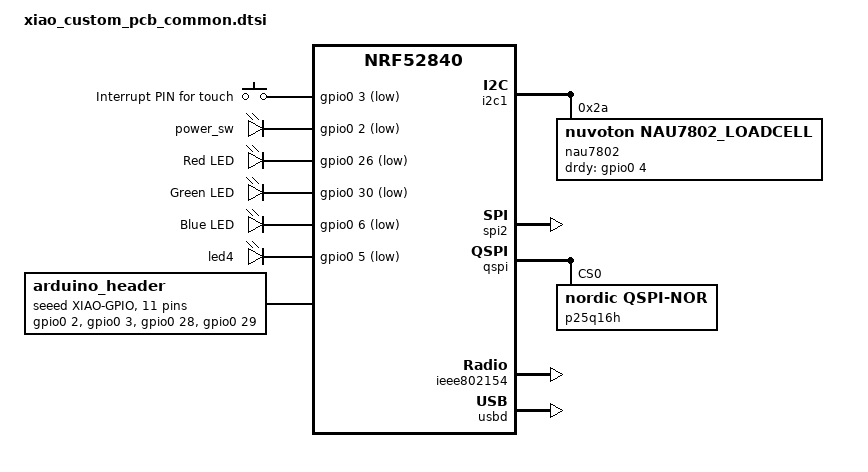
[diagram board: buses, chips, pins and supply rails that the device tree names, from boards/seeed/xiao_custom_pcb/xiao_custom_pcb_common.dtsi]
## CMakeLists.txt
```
# SPDX-License-Identifier: Apache-2.0

cmake_minimum_required(VERSION 3.20.0)

set(BOARD nrf52840dk_nrf52840)
set(SHIELD adafruit_2_8_tft_touch_v2)

find_package(Zephyr REQUIRED HINTS $ENV{ZEPHYR_BASE})
project(rocket)

FILE(GLOB_RECURSE app_sources src/*.c)
target_sources(app PRIVATE ${app_sources})
target_include_directories(app PRIVATE src src/lvgl src/lvgl/screens src/lvgl/widgets)
```

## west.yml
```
# Copyright (c) 2021 Nordic Semiconductor ASA
# SPDX-License-Identifier: Apache-2.0

manifest:
  self:
    west-commands: scripts/west-commands.yml

  remotes:
    - name: ncs
      url-base: https://github.com/nrfconnect

  projects:
    - name: nrf
      remote: ncs
      repo-path: sdk-nrf
      revision: v2.9.0
      import: true
    - name: NAU7802_LOADCELL
      path: modules/nau7802_loadcell
      revision: main
      url: https://github.com/TinNotTim/nau7802_loadcell_zephyr_driver
```

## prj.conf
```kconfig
CONFIG_NEWLIB_LIBC=y

CONFIG_GPIO=y
CONFIG_LOG=y
CONFIG_LOG_MODE_DEFERRED=y
CONFIG_LOG_RUNTIME_FILTERING=y
CONFIG_LOG_BUFFER_SIZE=2048
CONFIG_LOG_PRINTK=y
CONFIG_LOG_PROCESS_TRIGGER_THRESHOLD=0
CONFIG_COVERAGE=n
CONFIG_LOG_TAG_MAX_LEN=8
CONFIG_LV_Z_MEM_POOL_SIZE=16384
CONFIG_LV_Z_SHELL=n
CONFIG_MAIN_STACK_SIZE=4096
CONFIG_FPU=y
CONFIG_SENSOR=y
CONFIG_I2C=y

# TFT/Touch display
CONFIG_DISPLAY=y
CONFIG_DISPLAY_LOG_LEVEL_ERR=y
CONFIG_LVGL=y
CONFIG_LV_MEM_CUSTOM=y
CONFIG_LV_USE_LOG=y
CONFIG_LV_USE_LABEL=y
CONFIG_LV_USE_BTN=y
CONFIG_LV_USE_ARC=y
CONFIG_LV_USE_IMG=y
CONFIG_LV_USE_MONKEY=y
CONFIG_LV_FONT_MONTSERRAT_22=y
CONFIG_LV_FONT_MONTSERRAT_18=y

# Loadcell ADC
CONFIG_NAU7802_LOADCELL=y
CONFIG_NAU7802_LOADCELL_TRIGGER_NONE=y
CONFIG_NAU7802_LOADCELL_TRIGGER_OWN_THREAD=y
CONFIG_NAU7802_LOADCELL_TRIGGER_GLOBAL_THREAD=y
CONFIG_NAU7802_LOADCELL_TRIGGER_DIRECT=y

CONFIG_TEST_RANDOM_GENERATOR=y
```

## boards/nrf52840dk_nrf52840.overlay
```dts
/ {
    interrupt-pins {
        compatible = "gpio-keys";
        touch_irq: touch_irq {
            gpios = <&gpio1 8 (GPIO_PULL_DOWN | GPIO_ACTIVE_LOW)>;
            label = "Interrupt PIN for touch";
            zephyr,code = <INPUT_KEY_0>;
        };
    };

    leds {
        compatible = "gpio-leds";
        led4: led4 {
            gpios = <&gpio1 7 GPIO_ACTIVE_LOW>;
        };
    };

    control-pins {
        compatible = "gpio-leds";
        power_sw: tck108af {
            gpios = <&gpio0 2 GPIO_ACTIVE_LOW>;
        };
    };
};

&i2c0 {
    status = "okay";
    nau7802: nau7802_loadcell@2a {
        compatible = "nuvoton,nau7802_loadcell";
        reg = <0x2A>;
        drdy-gpios = <&gpio0 1 GPIO_ACTIVE_HIGH>;
        conversions-per-second = <40>;
        gain = <16>;
    };
};

&spi1 {
    status = "disabled";
};

&arduino_i2c {
        ft5336_adafruit_2_8_tft_touch_v2: ft5336@38 {
        compatible = "focaltech,ft5336";
        reg = <0x38>;
        int-gpios = <&arduino_header 13 GPIO_ACTIVE_LOW>;
    };
};
```

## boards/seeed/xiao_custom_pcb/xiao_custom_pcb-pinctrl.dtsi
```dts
/*
 * Copyright (c) 2022 Marcin Niestroj
 * SPDX-License-Identifier: Apache-2.0
 */

&pinctrl {
	i2c1_default: i2c1_default {
		group1 {
			psels = <NRF_PSEL(TWIM_SDA, 0, 28)>,
				<NRF_PSEL(TWIM_SCL, 0, 29)>;
		};
	};

	i2c1_sleep: i2c1_sleep {
		group1 {
			psels = <NRF_PSEL(TWIM_SDA, 0, 28)>,
				<NRF_PSEL(TWIM_SCL, 0, 29)>;
			low-power-enable;
		};
	};

	spi2_default: spi2_default {
		group1 {
			psels = <NRF_PSEL(SPIM_SCK, 1, 15)>,
				<NRF_PSEL(SPIM_MOSI, 1, 13)>,
				<NRF_PSEL(SPIM_MISO, 1, 14)>;
		};
	};

	spi2_sleep: spi2_sleep {
		group1 {
			psels = <NRF_PSEL(SPIM_SCK, 1, 15)>,
				<NRF_PSEL(SPIM_MOSI, 1, 13)>,
				<NRF_PSEL(SPIM_MISO, 1, 14)>;
			low-power-enable;
		};
	};

	qspi_default: qspi_default {
		group1 {
			psels = <NRF_PSEL(QSPI_SCK, 0, 21)>,
				<NRF_PSEL(QSPI_IO0, 0, 20)>,
				<NRF_PSEL(QSPI_IO1, 0, 24)>,
				<NRF_PSEL(QSPI_IO2, 0, 22)>,
				<NRF_PSEL(QSPI_IO3, 0, 23)>,
				<NRF_PSEL(QSPI_CSN, 0, 25)>;
		};
	};

	qspi_sleep: qspi_sleep {
		group1 {
			psels = <NRF_PSEL(QSPI_SCK, 0, 21)>,
				<NRF_PSEL(QSPI_IO0, 0, 20)>,
				<NRF_PSEL(QSPI_IO1, 0, 24)>,
				<NRF_PSEL(QSPI_IO2, 0, 22)>,
				<NRF_PSEL(QSPI_IO3, 0, 23)>,
				<NRF_PSEL(QSPI_CSN, 0, 25)>;
			low-power-enable;
		};
	};
};
```

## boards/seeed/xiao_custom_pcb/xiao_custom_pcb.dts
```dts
/*
 * Copyright (c) 2022-2023 Marcin Niestroj
 *
 * SPDX-License-Identifier: Apache-2.0
 */

/dts-v1/;
#include "xiao_custom_pcb_common.dtsi"

/ {
	model = "Seeed XIAO Custom PCB";
	compatible = "seeed,xiao-ble";
};
```

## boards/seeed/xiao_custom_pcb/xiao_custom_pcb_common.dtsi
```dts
/*
 * Copyright (c) 2022 Marcin Niestroj
 * Copyright (c) 2022 Peter Johanson
 *
 * SPDX-License-Identifier: Apache-2.0
 */

#include <nordic/nrf52840_qiaa.dtsi>
#include "xiao_custom_pcb-pinctrl.dtsi"

/ {
	chosen {
		zephyr,console = &usb_cdc_acm_uart;
		zephyr,shell-uart = &usb_cdc_acm_uart;
		zephyr,uart-mcumgr = &usb_cdc_acm_uart;
		zephyr,bt-mon-uart = &usb_cdc_acm_uart;
		zephyr,bt-c2h-uart = &usb_cdc_acm_uart;
		zephyr,sram = &sram0;
		zephyr,flash = &flash0;
		zephyr,code-partition = &code_partition;
		zephyr,ieee802154 = &ieee802154;
	};
	
    interrupt-pins {
        compatible = "gpio-keys";
        touch_irq: touch_irq {
            gpios = <&gpio0 3 (GPIO_PULL_DOWN | GPIO_ACTIVE_LOW)>;
            label = "Interrupt PIN for touch";
            zephyr,code = <INPUT_KEY_0>;
        };
    };

    control-pins {
        compatible = "gpio-leds";
        power_sw: tck108af {
            gpios = <&gpio0 2 GPIO_ACTIVE_LOW>;
        };
    };

	leds {
		compatible = "gpio-leds";
		led0: led_0 {
			gpios = <&gpio0 26 GPIO_ACTIVE_LOW>;
			label = "Red LED";
		};
		led1: led_1 {
			gpios = <&gpio0 30 GPIO_ACTIVE_LOW>;
			label = "Green LED";
		};
		led2: led_2 {
			gpios = <&gpio0 6 GPIO_ACTIVE_LOW>;
			label = "Blue LED";
		};
        led4: led4 {
            gpios = <&gpio0 5 GPIO_ACTIVE_LOW>;
        };
	};

	arduino_header: connector {
		compatible = "seeed,xiao-gpio";
		#gpio-cells = <2>;
		gpio-map-mask = <0xffffffff 0xffffffc0>;
		gpio-map-pass-thru = <0 0x3f>;
		gpio-map =
			<0 0 &gpio0 2 0>, /* D0 */
			<1 0 &gpio0 3 0>, /* D1 */
			<2 0 &gpio0 28 0>, /* D2 */
			<3 0 &gpio0 29 0>, /* D3 */
			<4 0 &gpio0 4 0>, /* D4 */
			<5 0 &gpio0 5 0>, /* D5 */
			<6 0 &gpio1 11 0>, /* D6 */
			<7 0 &gpio1 12 0>, /* D7 */
			<8 0 &gpio1 13 0>, /* D8 */
			<9 0 &gpio1 14 0>, /* D9 */
			<10 0 &gpio1 15 0>; /* D10 */
	};

	/* These aliases are provided for compatibility with samples */
	aliases {
		led0 = &led0;
		led1 = &led1;
		led2 = &led2;
		bootloader-led0 = &led0;
		mcuboot-led0 = &led0;
		watchdog0 = &wdt0;
		spi-flash0 = &p25q16h;
	};
};

&uicr {
	gpio-as-nreset;
};

&gpiote {
	status = "okay";
};

&gpio0 {
	status = "okay";
};

&gpio1 {
	status = "okay";
};

xiao_serial: &uart0 {
	compatible = "nordic,nrf-uarte";
	status = "disabled";
};

arduino_i2c: &i2c1 {
	compatible = "nordic,nrf-twi";
	status = "okay";
	pinctrl-0 = <&i2c1_default>;
	pinctrl-1 = <&i2c1_sleep>;
	pinctrl-names = "default", "sleep";

	nau7802: nau7802_loadcell@2a {
		compatible = "nuvoton,nau7802_loadcell";
		reg = <0x2A>;
		drdy-gpios = <&gpio0 4 GPIO_ACTIVE_HIGH>;
		conversions-per-second = <320>; //SPS
		gain = <64>;
	};
};

arduino_spi: &spi2 {
	compatible = "nordic,nrf-spim";
	status = "okay";
	cs-gpios = <&gpio1 12 GPIO_ACTIVE_LOW>;
	pinctrl-0 = <&spi2_default>;
	pinctrl-1 = <&spi2_sleep>;
	pinctrl-names = "default", "sleep";
};

&qspi {
	status = "okay";
	pinctrl-0 = <&qspi_default>;
	pinctrl-1 = <&qspi_sleep>;
	pinctrl-names = "default", "sleep";
	p25q16h: p25q16h@0 {
		compatible = "nordic,qspi-nor";
		reg = <0>;
		sck-frequency = <104000000>;
		quad-enable-requirements = "S2B1v1";
		jedec-id = [85 60 15];
		sfdp-bfp = [
			e5 20 f1 ff  ff ff ff 00  44 eb 08 6b  08 3b 80 bb
			ee ff ff ff  ff ff 00 ff  ff ff 00 ff  0c 20 0f 52
			10 d8 08 81
		];
		size = <16777216>;
		has-dpd;
		t-enter-dpd = <3000>;
		t-exit-dpd = <8000>;
	};
};

&spi1 {
	status = "disabled";
};

&spi3 {
	status = "disabled";
};

&ieee802154 {
	status = "okay";
};

&flash0 {
	partitions {
		compatible = "fixed-partitions";
		#address-cells = <1>;
		#size-cells = <1>;

		sd_partition: partition@0 {
			label = "softdevice";
			reg = <0x00000000 0x00027000>;
		};

		code_partition: partition@27000 {
			label = "code_partition";
			reg = <0x00027000 0x000c5000>;
		};

		/*
		 * The flash starting at 0x000ec000 and ending at
		 * 0x000f3fff is reserved for use by the application.
		 *
		 * Storage partition will be used by FCB/LittleFS/NVS
		 * if enabled.
		 */
		storage_partition: partition@ec000 {
			label = "storage";
			reg = <0x000ec000 0x00008000>;
		};

		boot_partition: partition@f4000 {
			label = "adafruit_boot";
			reg = <0x000f4000 0x0000c000>;
		};
	};
};

zephyr_udc0: &usbd {
	compatible = "nordic,nrf-usbd";
	status = "okay";

	usb_cdc_acm_uart: cdc-acm-uart {
		compatible = "zephyr,cdc-acm-uart";
	};
};
```

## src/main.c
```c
#include "lv_api_map.h"
#include "lvgl/lv_ui.h"
#include <lvgl.h>
#include <lvgl_input_device.h>
#include <zephyr/device.h>
#include <zephyr/devicetree.h>
#include <zephyr/drivers/display.h>
#include <zephyr/drivers/gpio.h>
#include <zephyr/drivers/i2c.h>
#include <zephyr/kernel.h>
#include <zephyr/logging/log.h>
#include "brew_thread.h"

LOG_MODULE_REGISTER(main, LOG_LEVEL_INF);

#define TOUCH_NODE DT_NODELABEL(touch_irq)

/* Touch Interrupt */
static struct gpio_dt_spec touch_irq =
	GPIO_DT_SPEC_GET_OR(TOUCH_NODE, gpios, {0});
static struct gpio_callback touch_callback;

static void touch_isr_callback(const struct device *port,
			       struct gpio_callback *cb, uint32_t pins)
{
	LOG_INF("Touch ISR.");
	lv_task_handler();
	ARG_UNUSED(port);
	ARG_UNUSED(cb);
	ARG_UNUSED(pins);
}

int main(void)
{
	const struct device *display_dev;
	display_dev = DEVICE_DT_GET(DT_CHOSEN(zephyr_display));
	if (!device_is_ready(display_dev)) {
		LOG_ERR("Device %s is not ready. Exiting..", display_dev->name);
		return 0;
	}

	/* Initialize touch IRQ */
	if (gpio_is_ready_dt(&touch_irq)) {
		int err;

		err = gpio_pin_configure_dt(&touch_irq, GPIO_INPUT);
		if (err) {
			LOG_ERR("Failed to configure gpio for interrupt: %d",
				err);
			return 0;
		}

		gpio_init_callback(&touch_callback, touch_isr_callback,
				   BIT(touch_irq.pin));

		err = gpio_add_callback(touch_irq.port, &touch_callback);
		if (err) {
			LOG_ERR("Failed to add touch interrupt callback: %d",
				err);
			return 0;
		}
		err = gpio_pin_interrupt_configure_dt(&touch_irq,
						      GPIO_INT_DISABLE);
		if (err) {
			LOG_ERR("Failed to enable touch interrupt callback: %d",
				err);
			return 0;
		}
	}

	/* Initialize LVGL */
	lv_ui_init();
	lv_task_handler();
	k_msleep(100);
	display_blanking_off(display_dev);

	brew_thread_start();

	while (1) {
		lv_task_handler();
		k_msleep(10);
	}
}
```

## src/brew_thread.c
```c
#include <zephyr/kernel.h>
#include <zephyr/device.h>
#include <zephyr/drivers/gpio.h>
#include <zephyr/logging/log.h>
#include "brew_thread.h"
#include "../../../modules/nau7802_loadcell/drivers/sensor/nau7802_loadcell/nau7802_loadcell.h"
#include "syscalls/sensor.h"
#include "zephyr/drivers/sensor.h"

LOG_MODULE_REGISTER(brew, LOG_LEVEL_INF);

#define STACK_SIZE 2048
#define PRIORITY   5

#define WEIGHT_LOWER	    80
#define WEIGHT_UPPER	    250
#define WEIGHT_TARGET_DELTA 38
#define CALIBRATION_FACTOR  0.002877658408
#define ZERO_OFFFSET	    0.0

#define LED4_NODE     DT_NODELABEL(led4)
#define POWER_SW_NODE DT_NODELABEL(power_sw)

static const struct gpio_dt_spec power_sw =
	GPIO_DT_SPEC_GET(POWER_SW_NODE, gpios);
static const struct gpio_dt_spec led = GPIO_DT_SPEC_GET(LED4_NODE, gpios);
static const struct device *const adc_dev =
	DEVICE_DT_GET(DT_NODELABEL(nau7802));

int zero_offset;

static struct k_thread brew_thread_data;
K_THREAD_STACK_DEFINE(brew_stack_area, STACK_SIZE);

static double process_sensor_value(const struct device *dev)
{
	struct sensor_value force;
	int ret;

	ret = sensor_sample_fetch(dev);
	if (ret != 0) {
		LOG_ERR("ret: %d, Sensor sample update error", ret);
		return ret;
	}

	ret = sensor_channel_get(dev, SENSOR_CHAN_FORCE, &force);
	if (ret != 0) {
		LOG_ERR("ret: %d, Cannot read NAU7802 force channel.", ret);
		return ret;
	}

	return sensor_value_to_double(&force);
}

static void start_brew(void)
{
	gpio_pin_set_dt(&power_sw, 1);
	gpio_pin_set_dt(&led, 1);
}

static void stop_brew(void)
{
	gpio_pin_set_dt(&power_sw, 0);
	gpio_pin_set_dt(&led, 0);
}

static void brew_thread_fn(void *p1, void *p2, void *p3)
{
	double offset = 0.0;
	double ret = process_sensor_value(adc_dev);
	LOG_INF("%f, %f", ret, CALIBRATION_FACTOR * (ret - zero_offset) - 4.0);
	LOG_INF("Waiting for cup weight %d–%d g...", WEIGHT_LOWER,
		WEIGHT_UPPER);

	while (true) {
		double weight = CALIBRATION_FACTOR *
				(process_sensor_value(adc_dev) - zero_offset);
		LOG_INF("Weight: %f g", weight);
		if (weight >= WEIGHT_LOWER && weight <= WEIGHT_UPPER) {
			LOG_INF("Offset weight: %f g", weight);
			k_sleep(K_MSEC(1000)); // settle
			double check_weight =
				CALIBRATION_FACTOR *
				(process_sensor_value(adc_dev) - zero_offset);
			if (check_weight > weight - 5 &&
			    check_weight < weight + 5) {
				offset = weight;
				break;
			}
		}
		k_sleep(K_MSEC(200));
	}

	start_brew();
	LOG_INF("Brewing started...");

	while (true) {
		double weight = CALIBRATION_FACTOR *
				(process_sensor_value(adc_dev) - zero_offset);
		if (weight >= offset + WEIGHT_TARGET_DELTA) {
			LOG_INF("Target reached: %f g (offset: %f g)", weight,
				offset);
			break;
		}
		k_sleep(K_MSEC(100));
	}

	stop_brew();
	LOG_INF("Brewing finished.");
}

void brew_thread_start(void)
{
	/* Initialize ADC sensor */
	if (!device_is_ready(adc_dev)) {
		LOG_ERR("Device %s is not ready. Exiting..", adc_dev->name);
		// return 0;
	}

	// TODO: ADC calibration
	/*
	  float32_t zero_offset = ZERO_OFFFSET;
	  float32_t calib_factor = CALIBRATION_FACTOR;
	  const struct sensor_value offset_attri;
	  const struct sensor_value calib_attri;

	  memcpy(&offset_attri.val1, &zero_offset, sizeof(zero_offset));
	  memcpy(&calib_attri.val1, &calib_factor, sizeof(calib_factor));

	  if (sensor_attr_set(adc_dev, SENSOR_CHAN_FORCE, SENSOR_ATTR_OFFSET,
			      &offset_attri) != 0) {
	      LOG_ERR("Cannot configure the offset.");
	      return 0;
	  }

	  if (sensor_attr_set(adc_dev, SENSOR_CHAN_FORCE,
	  SENSOR_ATTR_CALIBRATION, &calib_attri) != 0) { LOG_ERR("Cannot
	  configure the calibration."); return 0;
	  }
      */

	/* Initialize Load switch */
	if (gpio_is_ready_dt(&power_sw)) {
		int err;
		err = gpio_pin_configure_dt(&power_sw, GPIO_OUTPUT_ACTIVE);
	}

	/* Initialize LED */
	if (gpio_is_ready_dt(&led)) {
		int err;
		err = gpio_pin_configure_dt(&led, GPIO_OUTPUT_INACTIVE);
	}

	/* Set zero offset */
	zero_offset = process_sensor_value(adc_dev);
	LOG_INF("Zero Offset: %d", zero_offset);

	k_tid_t tid = k_thread_create(&brew_thread_data, brew_stack_area,
				      STACK_SIZE, brew_thread_fn, NULL, NULL,
				      NULL, PRIORITY, 0, K_NO_WAIT);

	k_thread_name_set(tid, "brew_thread");
}
```

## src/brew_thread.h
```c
#ifndef BREW_THREAD_H
#define BREW_THREAD_H

#include <zephyr/kernel.h>

void brew_thread_start(void);

#endif // BREW_THREAD_H
```
